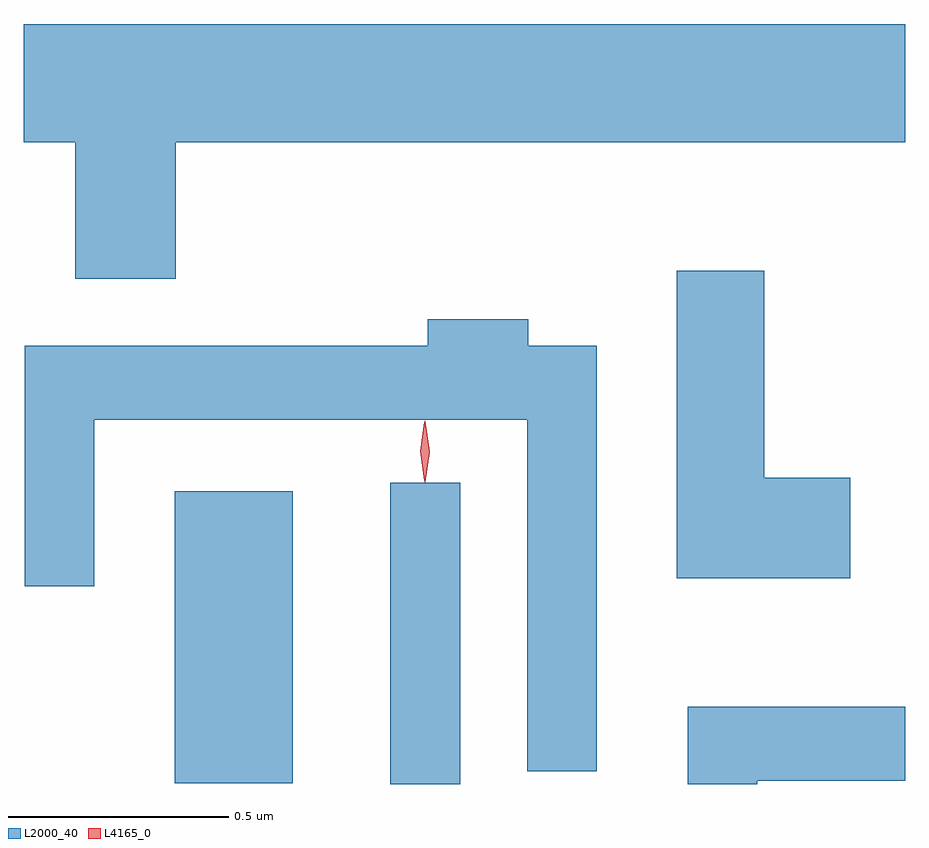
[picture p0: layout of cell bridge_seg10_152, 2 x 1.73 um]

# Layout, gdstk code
import gdstk
lib = gdstk.Library(unit=1e-6, precision=1e-09)
def R(c, l, rs):  # rectangles x0, y0, x1, y1
    for r in rs: c.add(gdstk.rectangle(r[:2], r[2:], *l))
def P(c, l, *ps):  # polygons
    for p in ps: c.add(gdstk.Polygon(p, *l))
L2000_40 = (2000, 40)
L4165_0 = (4165, 0)

bridge_seg10_152 = lib.new_cell('bridge_seg10_152')
R(bridge_seg10_152, L2000_40, [(1658.016,2101.359,1658.174,2102.043), (1657.526,2101.361,1657.794,2102.024)])
P(bridge_seg10_152, L2000_40, [(1657.529,2102.816),(1659.184,2102.816),(1659.184,2103.084),(1657.184,2103.084),(1657.184,2102.816),(1657.301,2102.816),(1657.301,2102.506),(1657.529,2102.506)],
  [(1659.059,2102.054),(1658.864,2102.054),(1658.864,2102.524),(1658.666,2102.524),(1658.666,2101.826),(1659.059,2101.826)],
  [(1658.484,2102.354),(1658.329,2102.354),(1658.329,2102.414),(1658.101,2102.414),(1658.101,2102.354),(1657.186,2102.354),(1657.186,2101.808),(1657.344,2101.808),(1657.344,2102.186),(1658.326,2102.186),(1658.326,2101.388),(1658.484,2101.388)],
  [(1658.849,2101.366),(1659.184,2101.366),(1659.184,2101.534),(1658.691,2101.534),(1658.691,2101.359),(1658.849,2101.359)])
P(bridge_seg10_152, L4165_0, [(1658.093,2102.047),(1658.093,2102.048),(1658.083,2102.114),(1658.093,2102.18),(1658.093,2102.18),(1658.094,2102.18),(1658.103,2102.114),(1658.094,2102.048)],
  [(1658.094,2102.044),(1658.085,2102.113),(1658.094,2102.182),(1658.095,2102.183),(1658.095,2102.182),(1658.105,2102.113),(1658.095,2102.044),(1658.095,2102.044)])

lib.write_gds('bridge_seg10_152.gds')
